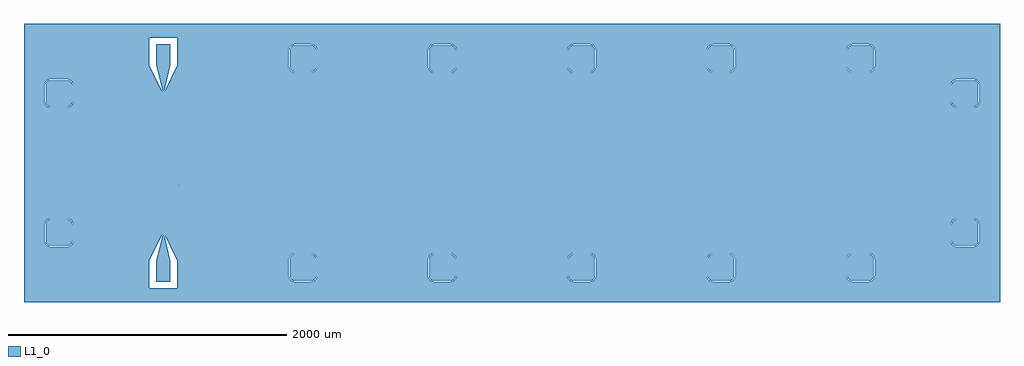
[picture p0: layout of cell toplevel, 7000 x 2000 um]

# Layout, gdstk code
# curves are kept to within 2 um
import gdstk
lib = gdstk.Library(unit=1e-6, precision=1e-09)
def P(c, l, *ps):  # polygons
    for p in ps: c.add(gdstk.Polygon(p, *l))
L1_0 = (1, 0)

toplevel = lib.new_cell('toplevel')
P(toplevel, L1_0, [(-3500,1000),(-3250,1000),(-3250,600),(-3310,600),(-3325.307,596.955),(-3343.259,582.223),(-3350,560),(-3350,440),(-3343.259,417.777),(-3332.223,406.741),(-3317.804,400.769),(-3250,400),(-3250,-400),(-3310,-400),(-3325.307,-403.045),(-3343.259,-417.777),(-3350,-440),(-3350,-560),(-3343.259,-582.223),(-3332.223,-593.259),(-3317.804,-599.231),(-3250,-600),(-3250,-1000),(-3500,-1000)],
  [(-3250,1000),(-2500,1000),(-2500,900),(-2600,900),(-2600,700),(-2502.8,501.633),(-2502.8,-501.633),(-2600,-700),(-2600,-900),(-2500,-900),(-2500,-1000),(-3250,-1000),(-3250,-600),(-3190,-600),(-3174.693,-596.955),(-3156.741,-582.223),(-3150,-560),(-3150,-440),(-3156.741,-417.777),(-3167.777,-406.741),(-3182.196,-400.769),(-3250,-400),(-3250,400),(-3190,400),(-3174.693,403.045),(-3156.741,417.777),(-3150,440),(-3150,560),(-3156.741,582.223),(-3167.777,593.259),(-3182.196,599.231),(-3250,600)],
  [(-2500,1000),(-2328.192,1000),(-2328.192,162.241),(-2341.511,165.508),(-2355.677,162.308),(-2366.803,152.973),(-2372.414,139.578),(-2373.256,-139.48),(-2382.11,-154.27),(-2397.6,-159.908),(-2413.89,-154.27),(-2422.744,-139.48),(-2423.2,134.734),(-2425.406,146.159),(-2438.6,161.385),(-2459.348,165.044),(-2477.594,154.51),(-2484.8,134.734),(-2483.8,-202.8),(-2483.8,134.726),(-2481.3,146.659),(-2469.711,160.033),(-2452.582,164.478),(-2435.209,157.841),(-2425.407,143.107),(-2424.081,-137.202),(-2415.157,-154.512),(-2405.779,-159.73),(-2395.924,-160.829),(-2379.622,-153.384),(-2371.919,-137.202),(-2371.068,141.277),(-2365.425,153.133),(-2354.379,161.819),(-2341.527,164.508),(-2328.192,161.116),(-2328.192,156.977),(-2340.753,160.882),(-2354.373,157.805),(-2363.098,150.246),(-2367.726,139.67),(-2368.335,-137.544),(-2376.432,-155.276),(-2392.825,-164.059),(-2405.026,-163.672),(-2415.286,-158.986),(-2423.568,-150.019),(-2427.56,-138.484),(-2428.861,142.093),(-2439.487,156.525),(-2457.729,160.644),(-2473.526,152.181),(-2480.2,134.697),(-2479.2,-202.8),(-2479.2,134.689),(-2477.086,144.815),(-2466.6,156.535),(-2452.003,159.832),(-2438.11,154.27),(-2429.608,141.04),(-2428.661,-137.639),(-2425.376,-148.825),(-2418.17,-157.989),(-2408.074,-163.818),(-2395.559,-165.415),(-2376.394,-156.663),(-2367.339,-137.639),(-2366.58,140.263),(-2361.304,150.909),(-2351.736,157.954),(-2340.003,159.832),(-2328.192,155.788),(-2328.192,-1000),(-2500,-1000),(-2500,-900),(-2400,-900),(-2400,-700),(-2497.2,-501.633),(-2497.2,501.633),(-2400,700),(-2400,900),(-2500,900)],
  [(-2328.192,1000),(-1500,1000),(-1500,850),(-1560,850),(-1575.307,846.955),(-1593.259,832.223),(-1600,810),(-1600,690),(-1593.259,667.777),(-1582.223,656.741),(-1567.804,650.769),(-1500,650),(-1500,-650),(-1560,-650),(-1575.307,-653.045),(-1593.259,-667.777),(-1600,-690),(-1600,-810),(-1593.259,-832.223),(-1582.223,-843.259),(-1567.804,-849.231),(-1500,-850),(-1500,-1000),(-2328.192,-1000),(-2328.192,155.788),(-2320.379,147.656),(-2316.851,136.31),(-2316.785,-135.689),(-2311.911,-151.363),(-2298.795,-162.728),(-2280.652,-165.044),(-2265.102,-157.337),(-2256.187,-142.447),(-2255.149,136.31),(-2248.238,152.101),(-2232.793,159.756),(-2214.11,154.27),(-2204.914,137.107),(-2203.553,-143.389),(-2191.061,-160.355),(-2181.262,-164.644),(-2169.617,-165.198),(-2158.6,-161.385),(-2150.406,-154.51),(-2143.2,-134.734),(-2143.2,2.8),(-2148.8,2.8),(-2150.058,-142.574),(-2159.383,-155.238),(-2174.4,-159.908),(-2189.261,-154.764),(-2198.179,-141.811),(-2199.339,137.639),(-2202.624,148.825),(-2209.83,157.989),(-2219.008,163.484),(-2230.489,165.508),(-2240.992,163.484),(-2250.898,157.337),(-2257.376,148.825),(-2260.661,137.639),(-2261.608,-141.04),(-2270.739,-154.764),(-2287.199,-159.882),(-2303.098,-153.223),(-2310.883,-138.693),(-2311.262,136.665),(-2316.089,151.363),(-2328.192,162.241)],
  [(-2328.192,161.116),(-2321.78,156.602),(-2316.93,150.823),(-2313.688,144.01),(-2312.26,136.602),(-2312.2,-134.697),(-2311.556,-140.484),(-2309.287,-146.717),(-2304.962,-152.791),(-2298.373,-157.805),(-2291.366,-160.356),(-2283.096,-160.75),(-2275.116,-158.544),(-2268.843,-154.512),(-2263.959,-148.876),(-2260.64,-141.291),(-2259.8,-134.697),(-2259.665,137.544),(-2258.593,143.107),(-2256.488,148.367),(-2253.425,153.133),(-2248.791,157.841),(-2244.074,160.979),(-2238.848,163.168),(-2233.303,164.328),(-2227.638,164.418),(-2222.974,163.672),(-2217.621,161.819),(-2212.714,158.986),(-2209.096,155.95),(-2205.454,151.61),(-2203.093,147.519),(-2201.155,142.196),(-2200.335,137.544),(-2200.2,-134.697),(-2199.556,-140.484),(-2197.287,-146.717),(-2192.962,-152.791),(-2187.1,-157.401),(-2180.177,-160.173),(-2172.753,-160.882),(-2164.65,-159.186),(-2158.133,-155.56),(-2152.902,-150.246),(-2149.38,-143.672),(-2148.129,-138.851),(-2147.8,-134.697),(-2147.8,1.8),(-2144.2,1.8),(-2144.335,-137.544),(-2145.997,-144.904),(-2148.93,-150.823),(-2153.78,-156.602),(-2159.926,-160.979),(-2166.059,-163.434),(-2172.582,-164.478),(-2179.175,-164.059),(-2186.379,-161.819),(-2192.791,-157.841),(-2197.425,-153.133),(-2200.907,-147.519),(-2203.068,-141.277),(-2203.8,-134.726),(-2203.919,137.202),(-2204.861,142.093),(-2206.344,145.972),(-2208.902,150.246),(-2211.622,153.384),(-2215.487,156.525),(-2219.116,158.544),(-2223.823,160.173),(-2227.924,160.829),(-2232.904,160.75),(-2237.779,159.73),(-2243.1,157.401),(-2247.157,154.512),(-2250.594,150.907),(-2253.287,146.717),(-2255.138,142.093),(-2256.081,137.202),(-2256.2,-134.726),(-2257.155,-142.196),(-2258.7,-146.659),(-2260.93,-150.823),(-2266.485,-157.233),(-2270.289,-160.033),(-2274.487,-162.198),(-2282.697,-164.328),(-2291.175,-164.059),(-2295.747,-162.873),(-2300.074,-160.979),(-2304.047,-158.425),(-2307.568,-155.276),(-2312.488,-148.367),(-2314.845,-142.196),(-2315.8,-134.726),(-2315.853,136.373),(-2316.861,142.093),(-2318.713,146.717),(-2322.474,152.181),(-2328.192,156.977)],
  [(-1500,1000),(-500,1000),(-500,850),(-560,850),(-575.307,846.955),(-593.259,832.223),(-600,810),(-600,690),(-593.259,667.777),(-582.223,656.741),(-567.804,650.769),(-500,650),(-500,-650),(-560,-650),(-575.307,-653.045),(-593.259,-667.777),(-600,-690),(-600,-810),(-593.259,-832.223),(-582.223,-843.259),(-567.804,-849.231),(-500,-850),(-500,-1000),(-1500,-1000),(-1500,-850),(-1440,-850),(-1424.693,-846.955),(-1406.741,-832.223),(-1400,-810),(-1400,-690),(-1406.741,-667.777),(-1417.777,-656.741),(-1432.196,-650.769),(-1500,-650),(-1500,650),(-1440,650),(-1424.693,653.045),(-1406.741,667.777),(-1400,690),(-1400,810),(-1406.741,832.223),(-1417.777,843.259),(-1432.196,849.231),(-1500,850)],
  [(-500,1000),(500,1000),(500,850),(440,850),(424.693,846.955),(406.741,832.223),(400,810),(400,690),(406.741,667.777),(417.777,656.741),(432.196,650.769),(500,650),(500,-650),(440,-650),(424.693,-653.045),(406.741,-667.777),(400,-690),(400,-810),(406.741,-832.223),(417.777,-843.259),(432.196,-849.231),(500,-850),(500,-1000),(-500,-1000),(-500,-850),(-440,-850),(-424.693,-846.955),(-406.741,-832.223),(-400,-810),(-400,-690),(-406.741,-667.777),(-417.777,-656.741),(-432.196,-650.769),(-500,-650),(-500,650),(-440,650),(-424.693,653.045),(-406.741,667.777),(-400,690),(-400,810),(-406.741,832.223),(-417.777,843.259),(-432.196,849.231),(-500,850)],
  [(500,1000),(1500,1000),(1500,850),(1440,850),(1424.693,846.955),(1406.741,832.223),(1400,810),(1400,690),(1406.741,667.777),(1417.777,656.741),(1432.196,650.769),(1500,650),(1500,-650),(1440,-650),(1424.693,-653.045),(1406.741,-667.777),(1400,-690),(1400,-810),(1406.741,-832.223),(1417.777,-843.259),(1432.196,-849.231),(1500,-850),(1500,-1000),(500,-1000),(500,-850),(560,-850),(575.307,-846.955),(593.259,-832.223),(600,-810),(600,-690),(593.259,-667.777),(582.223,-656.741),(567.804,-650.769),(500,-650),(500,650),(560,650),(575.307,653.045),(593.259,667.777),(600,690),(600,810),(593.259,832.223),(582.223,843.259),(567.804,849.231),(500,850)],
  [(1500,1000),(2500,1000),(2500,850),(2440,850),(2424.693,846.955),(2406.741,832.223),(2400,810),(2400,690),(2406.741,667.777),(2417.777,656.741),(2432.196,650.769),(2500,650),(2500,-650),(2440,-650),(2424.693,-653.045),(2406.741,-667.777),(2400,-690),(2400,-810),(2406.741,-832.223),(2417.777,-843.259),(2432.196,-849.231),(2500,-850),(2500,-1000),(1500,-1000),(1500,-850),(1560,-850),(1575.307,-846.955),(1593.259,-832.223),(1600,-810),(1600,-690),(1593.259,-667.777),(1582.223,-656.741),(1567.804,-650.769),(1500,-650),(1500,650),(1560,650),(1575.307,653.045),(1593.259,667.777),(1600,690),(1600,810),(1593.259,832.223),(1582.223,843.259),(1567.804,849.231),(1500,850)],
  [(2500,1000),(3250,1000),(3250,600),(3190,600),(3174.693,596.955),(3156.741,582.223),(3150,560),(3150,440),(3156.741,417.777),(3167.777,406.741),(3182.196,400.769),(3250,400),(3250,-400),(3190,-400),(3174.693,-403.045),(3156.741,-417.777),(3150,-440),(3150,-560),(3156.741,-582.223),(3167.777,-593.259),(3182.196,-599.231),(3250,-600),(3250,-1000),(2500,-1000),(2500,-850),(2560,-850),(2575.307,-846.955),(2593.259,-832.223),(2600,-810),(2600,-690),(2593.259,-667.777),(2582.223,-656.741),(2567.804,-650.769),(2500,-650),(2500,650),(2560,650),(2575.307,653.045),(2593.259,667.777),(2600,690),(2600,810),(2593.259,832.223),(2582.223,843.259),(2567.804,849.231),(2500,850)],
  [(3250,1000),(3500,1000),(3500,-1000),(3250,-1000),(3250,-600),(3310,-600),(3325.307,-596.955),(3343.259,-582.223),(3350,-560),(3350,-440),(3343.259,-417.777),(3332.223,-406.741),(3317.804,-400.769),(3250,-400),(3250,400),(3310,400),(3325.307,403.045),(3343.259,417.777),(3350,440),(3350,560),(3343.259,582.223),(3332.223,593.259),(3317.804,599.231),(3250,600)],
  [(-1569.45,-656.55),(-1437.471,-655.173),(-1424.03,-659.251),(-1413.172,-668.162),(-1405.173,-687.471),(-1405,-809),(-1407.74,-822.777),(-1418.162,-836.828),(-1437.471,-844.827),(-1559,-845),(-1572.777,-842.26),(-1586.828,-831.838),(-1594.827,-812.529),(-1594.827,-687.471),(-1586.828,-668.162)],
  [(-579,-838.933),(-590.749,-825.97),(-595,-809),(-594.827,-687.471),(-592.26,-677.223),(-584.456,-665.544),(-572.777,-657.74),(-559,-655),(-437.471,-655.173),(-427.223,-657.74),(-415.544,-665.544),(-407.74,-677.223),(-405,-691),(-405.173,-812.529),(-407.74,-822.777),(-415.544,-834.456),(-427.223,-842.26),(-441,-845),(-559,-845)],
  [(-3325.97,-590.749),(-3338.933,-579),(-3344.827,-562.529),(-3344.827,-437.471),(-3336.828,-418.162),(-3322.777,-407.74),(-3309,-405),(-3187.471,-405.173),(-3168.162,-413.172),(-3157.74,-427.223),(-3155,-441),(-3155.173,-562.529),(-3163.172,-581.838),(-3174.03,-590.749),(-3187.471,-594.827),(-3309,-595)],
  [(-2498.2,-496),(-2450,-700),(-2450,-850),(-2550,-850),(-2550,-700),(-2501.8,-500),(-2501.8,500),(-2550,700),(-2550,850),(-2450,850),(-2450,700),(-2498.2,500)],
  [(-3183.977,405.692),(-3312.529,405.173),(-3325.97,409.251),(-3336.828,418.162),(-3344.827,437.471),(-3345,559),(-3342.26,572.777),(-3331.838,586.828),(-3312.529,594.827),(-3191,595),(-3177.223,592.26),(-3163.172,581.838),(-3155.173,562.529),(-3155.173,437.471),(-3157.74,427.223),(-3165.544,415.544)],
  [(-1424.03,659.251),(-1441,655),(-1562.529,655.173),(-1575.97,659.251),(-1586.828,668.162),(-1594.827,687.471),(-1595,809),(-1592.26,822.777),(-1581.838,836.828),(-1562.529,844.827),(-1441,845),(-1427.223,842.26),(-1413.172,831.838),(-1405.173,812.529),(-1405.173,687.471),(-1411.067,670.999)],
  [(-441,845),(-427.223,842.26),(-418.162,836.828),(-411.067,829),(-405.692,816.023),(-405.173,687.471),(-413.172,668.162),(-427.223,657.74),(-441,655),(-562.529,655.173),(-581.838,663.172),(-592.26,677.223),(-595,691),(-594.827,812.529),(-586.828,831.838),(-575.97,840.749),(-562.529,844.827)],
  [(590.749,-825.97),(579,-838.933),(562.529,-844.827),(437.471,-844.827),(418.162,-836.828),(407.74,-822.777),(405,-809),(405.173,-687.471),(413.172,-668.162),(427.223,-657.74),(441,-655),(562.529,-655.173),(581.838,-663.172),(590.749,-674.03),(594.827,-687.471),(595,-809)],
  [(1572.777,-657.74),(1588.933,-670.999),(1594.827,-687.471),(1594.827,-812.529),(1586.828,-831.838),(1572.777,-842.26),(1559,-845),(1437.471,-844.827),(1418.162,-836.828),(1407.74,-822.777),(1405,-809),(1405.173,-687.471),(1413.172,-668.162),(1424.03,-659.251),(1437.471,-655.173),(1559,-655)],
  [(2594.827,-812.529),(2592.26,-822.777),(2584.456,-834.456),(2572.777,-842.26),(2562.529,-844.827),(2437.471,-844.827),(2418.162,-836.828),(2407.74,-822.777),(2405,-809),(2405.173,-687.471),(2413.172,-668.162),(2427.223,-657.74),(2441,-655),(2562.529,-655.173),(2581.838,-663.172),(2590.749,-674.03),(2594.827,-687.471)],
  [(3177.223,-407.74),(3191,-405),(3312.529,-405.173),(3325.97,-409.251),(3336.828,-418.162),(3344.827,-437.471),(3345,-559),(3342.26,-572.777),(3331.838,-586.828),(3312.529,-594.827),(3191,-595),(3177.223,-592.26),(3163.172,-581.838),(3155.173,-562.529),(3155.173,-437.471),(3161.067,-420.999)],
  [(3316.023,405.692),(3187.471,405.173),(3174.03,409.251),(3163.172,418.162),(3155.173,437.471),(3155,559),(3157.74,572.777),(3168.162,586.828),(3187.471,594.827),(3309,595),(3322.777,592.26),(3336.828,581.838),(3344.827,562.529),(3344.827,437.471),(3342.26,427.223),(3334.456,415.544)],
  [(581.838,663.172),(562.529,655.173),(441,655),(427.223,657.74),(415.544,665.544),(407.74,677.223),(405,691),(405.173,812.529),(407.74,822.777),(415.544,834.456),(427.223,842.26),(441,845),(562.529,844.827),(572.777,842.26),(584.456,834.456),(592.26,822.777),(594.827,812.529),(595,691),(592.26,677.223)],
  [(1427.223,842.26),(1441,845),(1562.529,844.827),(1575.97,840.749),(1586.828,831.838),(1594.827,812.529),(1595,691),(1592.26,677.223),(1581.838,663.172),(1562.529,655.173),(1441,655),(1427.223,657.74),(1413.172,668.162),(1405.173,687.471),(1405.173,812.529),(1411.067,829)],
  [(2407.74,822.777),(2420.999,838.933),(2437.471,844.827),(2562.529,844.827),(2581.838,836.828),(2592.26,822.777),(2595,809),(2594.827,687.471),(2586.828,668.162),(2572.777,657.74),(2559,655),(2437.471,655.173),(2418.162,663.172),(2409.251,674.03),(2405.173,687.471),(2405,809)])

lib.write_gds('toplevel.gds')
